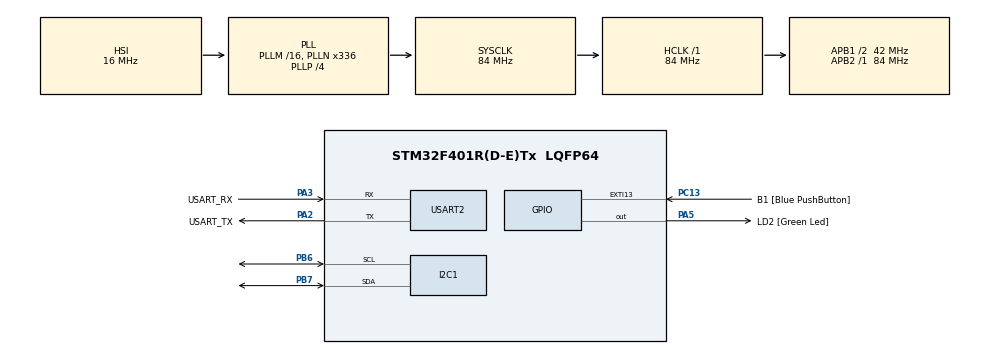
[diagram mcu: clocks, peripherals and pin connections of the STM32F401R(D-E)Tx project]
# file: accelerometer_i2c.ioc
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Dma.Request0=USART2_TX
Dma.USART2_TX.0.Direction=DMA_MEMORY_TO_PERIPH
Dma.USART2_TX.0.FIFOMode=DMA_FIFOMODE_DISABLE
Dma.USART2_TX.0.Instance=DMA1_Stream6
Dma.USART2_TX.0.MemDataAlignment=DMA_MDATAALIGN_BYTE
Dma.USART2_TX.0.MemInc=DMA_MINC_ENABLE
Dma.USART2_TX.0.Mode=DMA_NORMAL
Dma.USART2_TX.0.PeriphDataAlignment=DMA_PDATAALIGN_BYTE
Dma.USART2_TX.0.PeriphInc=DMA_PINC_DISABLE
Dma.USART2_TX.0.Priority=DMA_PRIORITY_HIGH
Mcu.Family=STM32F4
Mcu.Name=STM32F401R(D-E)Tx
Mcu.Package=LQFP64
NVIC.DMA1_Stream6_IRQn=true\:0\:0\:false\:false\:true\:false\:true\:true
NVIC.PriorityGroup=NVIC_PRIORITYGROUP_4
NVIC.TIM2_IRQn=true\:0\:0\:false\:false\:true\:true\:true\:true
NVIC.USART2_IRQn=true\:0\:0\:false\:false\:true\:true\:true\:true
PA13.GPIO_Label=TMS
PA13.Mode=Trace_Asynchronous_SW
PA13.Signal=SYS_JTMS-SWDIO
PA14.GPIO_Label=TCK
PA14.Mode=Trace_Asynchronous_SW
PA14.Signal=SYS_JTCK-SWCLK
PA2.GPIO_Label=USART_TX
PA2.GPIO_Mode=GPIO_MODE_AF_PP
PA2.GPIO_PuPd=GPIO_NOPULL
PA2.GPIO_Speed=GPIO_SPEED_FREQ_LOW
PA2.Mode=Asynchronous
PA2.Signal=USART2_TX
PA3.GPIO_Label=USART_RX
PA3.GPIO_Mode=GPIO_MODE_AF_PP
PA3.GPIO_PuPd=GPIO_NOPULL
PA3.GPIO_Speed=GPIO_SPEED_FREQ_LOW
PA3.Mode=Asynchronous
PA3.Signal=USART2_RX
PA5.GPIO_Label=LD2 [Green Led]
PA5.GPIO_Mode=GPIO_MODE_OUTPUT_PP
PA5.GPIO_PuPd=GPIO_NOPULL
PA5.GPIO_Speed=GPIO_SPEED_FREQ_LOW
PA5.Signal=GPIO_Output
PB3.GPIO_Label=SWO
PB3.Mode=Trace_Asynchronous_SW
PB3.Signal=SYS_JTDO-SWO
PB6.Mode=I2C
PB6.Signal=I2C1_SCL
PB7.Mode=I2C
PB7.Signal=I2C1_SDA
PC13-ANTI_TAMP.GPIO_Label=B1 [Blue PushButton]
PC13-ANTI_TAMP.GPIO_ModeDefaultEXTI=GPIO_MODE_IT_FALLING
PC13-ANTI_TAMP.GPIO_PuPd=GPIO_NOPULL
PC13-ANTI_TAMP.Signal=GPXTI13
PC14-OSC32_IN.Mode=LSE-External-Oscillator
PC14-OSC32_IN.Signal=RCC_OSC32_IN
PC15-OSC32_OUT.Mode=LSE-External-Oscillator
PC15-OSC32_OUT.Signal=RCC_OSC32_OUT
PH0\ -\ OSC_IN.Mode=HSE-External-Clock-Source
PH0\ -\ OSC_IN.Signal=RCC_OSC_IN
PH1\ -\ OSC_OUT.Mode=HSE-External-Clock-Source
PH1\ -\ OSC_OUT.Signal=RCC_OSC_OUT
ProjectManager.HeapSize=0x200
ProjectManager.StackSize=0x400
ProjectManager.TargetToolchain=STM32CubeIDE
RCC.48MHZClocksFreq_Value=48000000
RCC.AHBFreq_Value=84000000
RCC.APB1CLKDivider=RCC_HCLK_DIV2
RCC.APB1Freq_Value=42000000
RCC.APB1TimFreq_Value=84000000
RCC.APB2Freq_Value=84000000
RCC.APB2TimFreq_Value=84000000
RCC.CortexFreq_Value=84000000
RCC.HCLKFreq_Value=84000000
RCC.HSE_VALUE=8000000
RCC.HSI_VALUE=16000000
RCC.PLLN=336
RCC.PLLP=RCC_PLLP_DIV4
RCC.PLLQ=7
RCC.SYSCLKFreq_VALUE=84000000
RCC.SYSCLKSource=RCC_SYSCLKSOURCE_PLLCLK
RCC.VCOOutputFreq_Value=336000000
TIM2.Period=10000 - 1
TIM2.Prescaler=8400 - 1
USART2.VirtualMode=VM_ASYNC
VP_TIM2_VS_ClockSourceINT.Mode=Internal
board=NUCLEO-F401RE

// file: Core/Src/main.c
/* USER CODE BEGIN Header */
/**
  ******************************************************************************
  * @file           : main.c
  * @brief          : Main program body
  ******************************************************************************
  * @attention
  *
  * Copyright (c) 2025 STMicroelectronics.
  * All rights reserved.
  *
  * This software is licensed under terms that can be found in the LICENSE file
  * in the root directory of this software component.
  * If no LICENSE file comes with this software, it is provided AS-IS.
  *
  ******************************************************************************
  */
/* USER CODE END Header */
#include "main.h"

I2C_HandleTypeDef hi2c1;

TIM_HandleTypeDef htim2;

UART_HandleTypeDef huart2;
DMA_HandleTypeDef hdma_usart2_tx;

/* USER CODE BEGIN PV */
uint8_t LIS2DE_ADDRESS = 0b01010000;

uint8_t CTRL_REG1[]= {0x20, 0b00010111};
uint8_t CTRL_REG2[]= {0x21, 0b00000000};
uint8_t CTRL_REG4[]= {0x23, 0b00000000};

uint8_t OUT_X_ADD= 0x29;
uint8_t OUT_Y_ADD= 0x2B;
uint8_t OUT_Z_ADD= 0x2D;
/* USER CODE END PV */

void SystemClock_Config(void);
static void MX_GPIO_Init(void);
static void MX_DMA_Init(void);
static void MX_USART2_UART_Init(void);
static void MX_I2C1_Init(void);
static void MX_TIM2_Init(void);
/* USER CODE BEGIN PFP */
void HAL_TIM_PeriodElapsedCallback(TIM_HandleTypeDef *htim)
{
    if (htim->Instance == TIM2)
    {
    	int8_t data_x = 0;
    	HAL_I2C_Master_Transmit(&hi2c1, LIS2DE_ADDRESS, &OUT_X_ADD, 1, 100);
    	HAL_I2C_Master_Receive(&hi2c1, LIS2DE_ADDRESS+1, &data_x, 1, 100);

    	int8_t data_y = 0;
    	HAL_I2C_Master_Transmit(&hi2c1, LIS2DE_ADDRESS, &OUT_Y_ADD, 1, 100);
    	HAL_I2C_Master_Receive(&hi2c1, LIS2DE_ADDRESS+1, &data_y, 1, 100);

    	int8_t data_z = 0;
    	HAL_I2C_Master_Transmit(&hi2c1, LIS2DE_ADDRESS, &OUT_Z_ADD, 1, 100);
    	HAL_I2C_Master_Receive(&hi2c1, LIS2DE_ADDRESS+1, &data_z, 1, 100);

    	float data_x_acc = data_x / 64.0; // data *2g / 128 (128 = 2^8bit)
    	float data_y_acc = data_y / 64.0;
    	float data_z_acc = data_z / 64.0;

    	char string[64];
    	int length = snprintf(string, sizeof(string), "X: %+.2f g\r\nY: %+.2f g\r\nZ: %+.2f g\r\n",data_x_acc, data_y_acc, data_z_acc);
    	HAL_UART_Transmit_DMA(&huart2, (uint8_t*)string, length);
    }
}
/* USER CODE END PFP */

int main(void)
{

  /* MCU Configuration--------------------------------------------------------*/

  /* Reset of all peripherals, Initializes the Flash interface and the Systick. */
  HAL_Init();

  /* Configure the system clock */
  SystemClock_Config();

  /* Initialize all configured peripherals */
  MX_GPIO_Init();
  MX_DMA_Init();
  MX_USART2_UART_Init();
  MX_I2C1_Init();
  MX_TIM2_Init();
  /* USER CODE BEGIN 2 */
  HAL_I2C_Master_Transmit(&hi2c1, LIS2DE_ADDRESS, CTRL_REG1, 2, 100);
  HAL_I2C_Master_Transmit(&hi2c1, LIS2DE_ADDRESS, CTRL_REG2, 2, 100);
  HAL_I2C_Master_Transmit(&hi2c1, LIS2DE_ADDRESS, CTRL_REG4, 2, 100);

  HAL_TIM_Base_Start_IT(&htim2);
  /* USER CODE END 2 */

  /* Infinite loop */
  while (1)
  {

  }
}

void SystemClock_Config(void)
{
  RCC_OscInitTypeDef RCC_OscInitStruct = {0};
  RCC_ClkInitTypeDef RCC_ClkInitStruct = {0};

  /** Configure the main internal regulator output voltage
  */
  __HAL_RCC_PWR_CLK_ENABLE();
  __HAL_PWR_VOLTAGESCALING_CONFIG(PWR_REGULATOR_VOLTAGE_SCALE2);

  /** Initializes the RCC Oscillators according to the specified parameters
  * in the RCC_OscInitTypeDef structure.
  */
  RCC_OscInitStruct.OscillatorType = RCC_OSCILLATORTYPE_HSI;
  RCC_OscInitStruct.HSIState = RCC_HSI_ON;
  RCC_OscInitStruct.HSICalibrationValue = RCC_HSICALIBRATION_DEFAULT;
  RCC_OscInitStruct.PLL.PLLState = RCC_PLL_ON;
  RCC_OscInitStruct.PLL.PLLSource = RCC_PLLSOURCE_HSI;
  RCC_OscInitStruct.PLL.PLLM = 16;
  RCC_OscInitStruct.PLL.PLLN = 336;
  RCC_OscInitStruct.PLL.PLLP = RCC_PLLP_DIV4;
  RCC_OscInitStruct.PLL.PLLQ = 7;
  if (HAL_RCC_OscConfig(&RCC_OscInitStruct) != HAL_OK)
  {
    Error_Handler();
  }

  /** Initializes the CPU, AHB and APB buses clocks
  */
  RCC_ClkInitStruct.ClockType = RCC_CLOCKTYPE_HCLK|RCC_CLOCKTYPE_SYSCLK
                              |RCC_CLOCKTYPE_PCLK1|RCC_CLOCKTYPE_PCLK2;
  RCC_ClkInitStruct.SYSCLKSource = RCC_SYSCLKSOURCE_PLLCLK;
  RCC_ClkInitStruct.AHBCLKDivider = RCC_SYSCLK_DIV1;
  RCC_ClkInitStruct.APB1CLKDivider = RCC_HCLK_DIV2;
  RCC_ClkInitStruct.APB2CLKDivider = RCC_HCLK_DIV1;

  if (HAL_RCC_ClockConfig(&RCC_ClkInitStruct, FLASH_LATENCY_2) != HAL_OK)
  {
    Error_Handler();
  }
}

static void MX_I2C1_Init(void)
{

  hi2c1.Instance = I2C1;
  hi2c1.Init.ClockSpeed = 100000;
  hi2c1.Init.DutyCycle = I2C_DUTYCYCLE_2;
  hi2c1.Init.OwnAddress1 = 0;
  hi2c1.Init.AddressingMode = I2C_ADDRESSINGMODE_7BIT;
  hi2c1.Init.DualAddressMode = I2C_DUALADDRESS_DISABLE;
  hi2c1.Init.OwnAddress2 = 0;
  hi2c1.Init.GeneralCallMode = I2C_GENERALCALL_DISABLE;
  hi2c1.Init.NoStretchMode = I2C_NOSTRETCH_DISABLE;
  if (HAL_I2C_Init(&hi2c1) != HAL_OK)
  {
    Error_Handler();
  }

}

static void MX_TIM2_Init(void)
{

  TIM_ClockConfigTypeDef sClockSourceConfig = {0};
  TIM_MasterConfigTypeDef sMasterConfig = {0};

  htim2.Instance = TIM2;
  htim2.Init.Prescaler = 8400 - 1;
  htim2.Init.CounterMode = TIM_COUNTERMODE_UP;
  htim2.Init.Period = 10000 - 1;
  htim2.Init.ClockDivision = TIM_CLOCKDIVISION_DIV1;
  htim2.Init.AutoReloadPreload = TIM_AUTORELOAD_PRELOAD_DISABLE;
  if (HAL_TIM_Base_Init(&htim2) != HAL_OK)
  {
    Error_Handler();
  }
  sClockSourceConfig.ClockSource = TIM_CLOCKSOURCE_INTERNAL;
  if (HAL_TIM_ConfigClockSource(&htim2, &sClockSourceConfig) != HAL_OK)
  {
    Error_Handler();
  }
  sMasterConfig.MasterOutputTrigger = TIM_TRGO_RESET;
  sMasterConfig.MasterSlaveMode = TIM_MASTERSLAVEMODE_DISABLE;
  if (HAL_TIMEx_MasterConfigSynchronization(&htim2, &sMasterConfig) != HAL_OK)
  {
    Error_Handler();
  }

}

static void MX_USART2_UART_Init(void)
{

  huart2.Instance = USART2;
  huart2.Init.BaudRate = 115200;
  huart2.Init.WordLength = UART_WORDLENGTH_8B;
  huart2.Init.StopBits = UART_STOPBITS_1;
  huart2.Init.Parity = UART_PARITY_NONE;
  huart2.Init.Mode = UART_MODE_TX_RX;
  huart2.Init.HwFlowCtl = UART_HWCONTROL_NONE;
  huart2.Init.OverSampling = UART_OVERSAMPLING_16;
  if (HAL_UART_Init(&huart2) != HAL_OK)
  {
    Error_Handler();
  }

}

static void MX_DMA_Init(void)
{

  /* DMA controller clock enable */
  __HAL_RCC_DMA1_CLK_ENABLE();

  /* DMA interrupt init */
  /* DMA1_Stream6_IRQn interrupt configuration */
  HAL_NVIC_SetPriority(DMA1_Stream6_IRQn, 0, 0);
  HAL_NVIC_EnableIRQ(DMA1_Stream6_IRQn);

}

static void MX_GPIO_Init(void)
{
  GPIO_InitTypeDef GPIO_InitStruct = {0};

  /* GPIO Ports Clock Enable */
  __HAL_RCC_GPIOC_CLK_ENABLE();
  __HAL_RCC_GPIOH_CLK_ENABLE();
  __HAL_RCC_GPIOA_CLK_ENABLE();
  __HAL_RCC_GPIOB_CLK_ENABLE();

  /*Configure GPIO pin Output Level */
  HAL_GPIO_WritePin(LD2_GPIO_Port, LD2_Pin, GPIO_PIN_RESET);

  /*Configure GPIO pin : B1_Pin */
  GPIO_InitStruct.Pin = B1_Pin;
  GPIO_InitStruct.Mode = GPIO_MODE_IT_FALLING;
  GPIO_InitStruct.Pull = GPIO_NOPULL;
  HAL_GPIO_Init(B1_GPIO_Port, &GPIO_InitStruct);

  /*Configure GPIO pin : LD2_Pin */
  GPIO_InitStruct.Pin = LD2_Pin;
  GPIO_InitStruct.Mode = GPIO_MODE_OUTPUT_PP;
  GPIO_InitStruct.Pull = GPIO_NOPULL;
  GPIO_InitStruct.Speed = GPIO_SPEED_FREQ_LOW;
  HAL_GPIO_Init(LD2_GPIO_Port, &GPIO_InitStruct);

}

void Error_Handler(void)
{
  __disable_irq();
  while (1)
  {
  }
}
